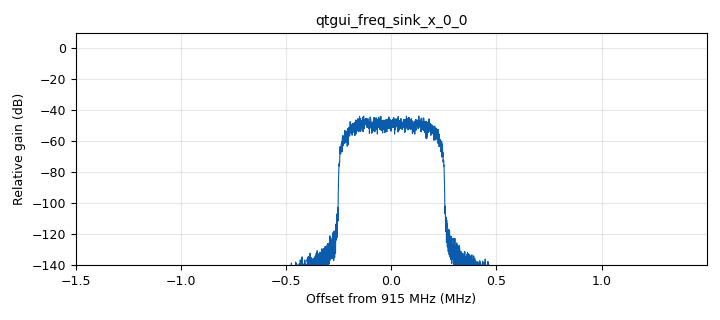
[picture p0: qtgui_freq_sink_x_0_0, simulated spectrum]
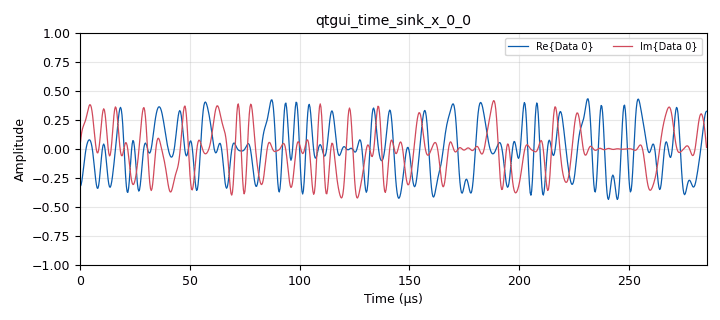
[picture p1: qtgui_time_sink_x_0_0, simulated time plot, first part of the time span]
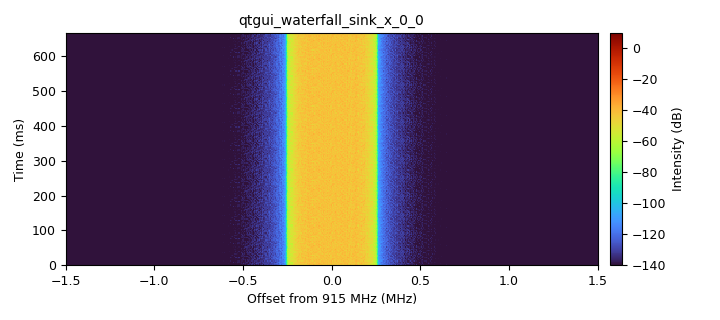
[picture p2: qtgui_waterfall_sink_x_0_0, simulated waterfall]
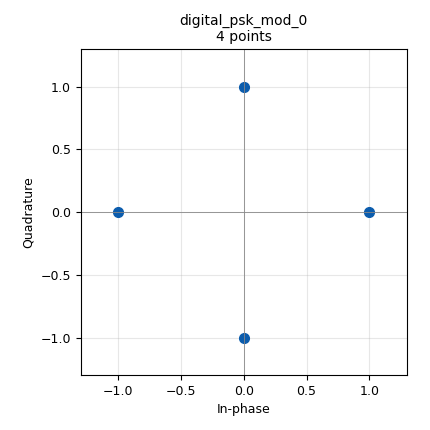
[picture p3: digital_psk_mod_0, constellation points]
<?xml version='1.0' encoding='utf-8'?>
<?grc format='1' created='3.7.9'?>
<flow_graph>
<block>
<key>options</key>
<param><key>id</key><value>bladeRF_loopback</value></param>
<param><key>author</key><value>Nuand, LLC &lt;bladeRF@nuand.com&gt;</value></param>
<param><key>category</key><value>Custom</value></param>
<param><key>description</key><value>A simple flowgraph that demonstrates the usage of loopback modes.</value></param>
<param><key>generate_options</key><value>qt_gui</value></param>
<param><key>title</key><value>"bladeRF loopback example"</value></param>
</block>
<block>
<key>variable</key>
<param><key>id</key><value>bladerf_rx_args</value></param>
<param><key>value</key><value>"bladerf=" + bladerf_selection + ",loopback=" + loopback + ",buffers=" + str(rx_num_buffers) + ",buflen=" + str(rx_buflen) + ",num_xfers=" + str(rx_num_xfers) + ",verbosity="+verbosity</value></param>
</block>
<block>
<key>variable</key>
<param><key>id</key><value>bladerf_selection</value></param>
<param><key>value</key><value>str(instance) if serial == "" else serial</value></param>
</block>
<block>
<key>variable</key>
<param><key>id</key><value>bladerf_tx_args</value></param>
<param><key>value</key><value>"bladerf=" + bladerf_selection + ",buffers=" + str(tx_num_buffers) + ",buflen=" + str(tx_buflen) + ",num_xfers=" + str(tx_num_xfers) + ",verbosity="+verbosity</value></param>
</block>
<block>
<key>variable_qtgui_label</key>
<param><key>id</key><value>gui_bladerf_rx_args</value></param>
<param><key>value</key><value>bladerf_rx_args</value></param>
<param><key>gui_hint</key><value>tabs@0 : 11, 0, 1, 10</value></param>
<param><key>label</key><value>"bladeRF RX arguments"</value></param>
<param><key>type</key><value>string</value></param>
</block>
<block>
<key>variable_qtgui_label</key>
<param><key>id</key><value>gui_bladerf_tx_args</value></param>
<param><key>value</key><value>bladerf_tx_args</value></param>
<param><key>gui_hint</key><value>tabs@1: 11, 0, 1, 10</value></param>
<param><key>label</key><value>"bladeRF TX arguments"</value></param>
<param><key>type</key><value>string</value></param>
</block>
<block>
<key>variable_qtgui_range</key>
<param><key>id</key><value>gui_rx_bandwidth</value></param>
<param><key>value</key><value>rx_bandwidth</value></param>
<param><key>gui_hint</key><value>tabs@0 : 1, 2, 1, 2</value></param>
<param><key>label</key><value>Bandwidth</value></param>
<param><key>orient</key><value>Qt.Horizontal</value></param>
<param><key>start</key><value>1.5e6</value></param>
<param><key>step</key><value>0.5e6</value></param>
<param><key>stop</key><value>28e6</value></param>
</block>
<block>
<key>variable_qtgui_range</key>
<param><key>id</key><value>gui_rx_frequency</value></param>
<param><key>value</key><value>rx_frequency</value></param>
<param><key>gui_hint</key><value>tabs@0 : 0, 0, 1, 5</value></param>
<param><key>label</key><value>Frequency</value></param>
<param><key>orient</key><value>Qt.Horizontal</value></param>
<param><key>start</key><value>0</value></param>
<param><key>step</key><value>1e6</value></param>
<param><key>stop</key><value>3.8e9</value></param>
</block>
<block>
<key>variable_qtgui_chooser</key>
<param><key>id</key><value>gui_rx_lna_gain</value></param>
<param><key>value</key><value>rx_lna_gain</value></param>
<param><key>gui_hint</key><value>tabs@0 : 0, 9, 1, 1</value></param>
<param><key>label0</key><value>0 dB</value></param>
<param><key>label1</key><value>3 dB</value></param>
<param><key>label2</key><value>6 dB</value></param>
<param><key>label</key><value>LNA Gain</value></param>
<param><key>num_opts</key><value>3</value></param>
<param><key>option0</key><value>0</value></param>
<param><key>option1</key><value>3</value></param>
<param><key>option2</key><value>6</value></param>
<param><key>type</key><value>int</value></param>
</block>
<block>
<key>variable_qtgui_range</key>
<param><key>id</key><value>gui_rx_sample_rate</value></param>
<param><key>value</key><value>rx_sample_rate</value></param>
<param><key>gui_hint</key><value>tabs@0 : 1, 0, 1, 2</value></param>
<param><key>label</key><value>Sample Rate</value></param>
<param><key>orient</key><value>Qt.Horizontal</value></param>
<param><key>start</key><value>1.5e6</value></param>
<param><key>step</key><value>500e3</value></param>
<param><key>stop</key><value>40e6</value></param>
</block>
<block>
<key>variable_qtgui_range</key>
<param><key>id</key><value>gui_rx_vga_gain</value></param>
<param><key>value</key><value>rx_vga_gain</value></param>
<param><key>gui_hint</key><value>tabs@0 : 0, 5, 1, 4</value></param>
<param><key>label</key><value>RX VGA1 + VGA2 Gain</value></param>
<param><key>orient</key><value>Qt.Horizontal</value></param>
<param><key>start</key><value>5</value></param>
<param><key>step</key><value>1</value></param>
<param><key>stop</key><value>60</value></param>
</block>
<block>
<key>variable_qtgui_range</key>
<param><key>id</key><value>gui_tx_bandwidth</value></param>
<param><key>value</key><value>tx_bandwidth</value></param>
<param><key>gui_hint</key><value>tabs@1 : 1, 2, 1, 2</value></param>
<param><key>label</key><value>Bandwidth</value></param>
<param><key>orient</key><value>Qt.Horizontal</value></param>
<param><key>start</key><value>1.5e6</value></param>
<param><key>step</key><value>0.5e6</value></param>
<param><key>stop</key><value>28e6</value></param>
</block>
<block>
<key>variable_qtgui_range</key>
<param><key>id</key><value>gui_tx_frequency</value></param>
<param><key>value</key><value>tx_frequency</value></param>
<param><key>gui_hint</key><value>tabs@1 : 0, 0, 1, 5</value></param>
<param><key>label</key><value>Frequency</value></param>
<param><key>orient</key><value>Qt.Horizontal</value></param>
<param><key>start</key><value>0</value></param>
<param><key>step</key><value>1e6</value></param>
<param><key>stop</key><value>3.8e9</value></param>
</block>
<block>
<key>variable_qtgui_range</key>
<param><key>id</key><value>gui_tx_sample_rate</value></param>
<param><key>value</key><value>tx_sample_rate</value></param>
<param><key>gui_hint</key><value>tabs@1 : 1, 0, 1, 2</value></param>
<param><key>label</key><value>Sample Rate</value></param>
<param><key>orient</key><value>Qt.Horizontal</value></param>
<param><key>start</key><value>1.5e6</value></param>
<param><key>step</key><value>500e3</value></param>
<param><key>stop</key><value>40e6</value></param>
</block>
<block>
<key>variable_qtgui_range</key>
<param><key>id</key><value>gui_tx_vga1</value></param>
<param><key>value</key><value>tx_vga1</value></param>
<param><key>gui_hint</key><value>tabs@1 : 0, 5, 1, 2</value></param>
<param><key>label</key><value>VGA1 Gain</value></param>
<param><key>orient</key><value>Qt.Horizontal</value></param>
<param><key>start</key><value>-35</value></param>
<param><key>step</key><value>1</value></param>
<param><key>stop</key><value>-4</value></param>
</block>
<block>
<key>variable_qtgui_range</key>
<param><key>id</key><value>gui_tx_vga2</value></param>
<param><key>value</key><value>tx_vga2</value></param>
<param><key>gui_hint</key><value>tabs@1 : 0, 7, 1, 2</value></param>
<param><key>label</key><value>VGA2 Gain</value></param>
<param><key>orient</key><value>Qt.Horizontal</value></param>
<param><key>start</key><value>0</value></param>
<param><key>step</key><value>1</value></param>
<param><key>stop</key><value>25</value></param>
</block>
<block>
<key>analog_random_source_x</key>
<param><key>id</key><value>analog_random_source_x_0</value></param>
<param><key>max</key><value>255</value></param>
<param><key>min</key><value>0</value></param>
<param><key>num_samps</key><value>1000</value></param>
<param><key>type</key><value>byte</value></param>
<param><key>repeat</key><value>True</value></param>
</block>
<block>
<key>blocks_multiply_const_vxx</key>
<param><key>id</key><value>blocks_multiply_const_vxx_0</value></param>
<param><key>const</key><value>0.3</value></param>
<param><key>type</key><value>complex</value></param>
</block>
<block>
<key>digital_psk_mod</key>
<param><key>id</key><value>digital_psk_mod_0</value></param>
<param><key>differential</key><value>True</value></param>
<param><key>excess_bw</key><value>0.35</value></param>
<param><key>mod_code</key><value>"none"</value></param>
<param><key>constellation_points</key><value>4</value></param>
<param><key>samples_per_symbol</key><value>8</value></param>
</block>
<block>
<key>parameter</key>
<param><key>id</key><value>instance</value></param>
<param><key>label</key><value>0-indexed device instance describing device to use. Ignored if a serial-number is provided.</value></param>
<param><key>type</key><value>intx</value></param>
<param><key>value</key><value>0</value></param>
</block>
<block>
<key>parameter</key>
<param><key>id</key><value>loopback</value></param>
<param><key>label</key><value>Loopback mode</value></param>
<param><key>short_id</key><value>l</value></param>
<param><key>type</key><value>string</value></param>
<param><key>value</key><value>"bb_txvga1_rxlpf"</value></param>
</block>
<block>
<key>note</key>
<param><key>id</key><value>note_0</value></param>
<param><key>note</key><value>Command line params</value></param>
</block>
<block>
<key>note</key>
<param><key>id</key><value>note_0_0</value></param>
<param><key>note</key><value>GUI Controls</value></param>
</block>
<block>
<key>osmosdr_sink</key>
<param><key>id</key><value>osmosdr_sink_0</value></param>
<param><key>bb_gain0</key><value>gui_tx_vga1</value></param>
<param><key>bw0</key><value>gui_tx_bandwidth</value></param>
<param><key>freq0</key><value>gui_tx_frequency</value></param>
<param><key>if_gain0</key><value>0</value></param>
<param><key>gain0</key><value>gui_tx_vga2</value></param>
<param><key>args</key><value>bladerf_tx_args</value></param>
<param><key>type</key><value>fc32</value></param>
<param><key>sample_rate</key><value>gui_tx_sample_rate</value></param>
<param><key>sync</key><value></value></param>
</block>
<block>
<key>osmosdr_source</key>
<param><key>id</key><value>osmosdr_source_0</value></param>
<param><key>bb_gain0</key><value>gui_rx_vga_gain</value></param>
<param><key>bw0</key><value>gui_rx_bandwidth</value></param>
<param><key>dc_offset_mode0</key><value>1</value></param>
<param><key>freq0</key><value>gui_rx_frequency</value></param>
<param><key>gain_mode0</key><value>False</value></param>
<param><key>if_gain0</key><value>0</value></param>
<param><key>iq_balance_mode0</key><value>1</value></param>
<param><key>gain0</key><value>gui_rx_lna_gain</value></param>
<param><key>args</key><value>bladerf_rx_args</value></param>
<param><key>type</key><value>fc32</value></param>
<param><key>sample_rate</key><value>gui_rx_sample_rate</value></param>
<param><key>sync</key><value></value></param>
</block>
<block>
<key>qtgui_freq_sink_x</key>
<param><key>id</key><value>qtgui_freq_sink_x_0</value></param>
<param><key>average</key><value>0.1</value></param>
<param><key>bw</key><value>gui_rx_sample_rate</value></param>
<param><key>fc</key><value>gui_rx_frequency</value></param>
<param><key>fftsize</key><value>8192</value></param>
<param><key>gui_hint</key><value>tabs@0 : 2, 0, 5, 5</value></param>
<param><key>showports</key><value>True</value></param>
<param><key>type</key><value>complex</value></param>
<param><key>wintype</key><value>firdes.WIN_BLACKMAN_hARRIS</value></param>
</block>
<block>
<key>qtgui_freq_sink_x</key>
<param><key>id</key><value>qtgui_freq_sink_x_0_0</value></param>
<param><key>average</key><value>0.1</value></param>
<param><key>bw</key><value>gui_tx_sample_rate</value></param>
<param><key>fc</key><value>gui_tx_frequency</value></param>
<param><key>fftsize</key><value>8192</value></param>
<param><key>gui_hint</key><value>tabs@1 : 2, 0, 5, 5</value></param>
<param><key>showports</key><value>True</value></param>
<param><key>type</key><value>complex</value></param>
<param><key>wintype</key><value>firdes.WIN_BLACKMAN_hARRIS</value></param>
</block>
<block>
<key>qtgui_time_sink_x</key>
<param><key>id</key><value>qtgui_time_sink_x_0</value></param>
<param><key>gui_hint</key><value>tabs@0 : 7, 0, 3, 10</value></param>
<param><key>color1</key><value>"blue"</value></param>
<param><key>label1</key><value></value></param>
<param><key>color2</key><value>"red"</value></param>
<param><key>label2</key><value></value></param>
<param><key>size</key><value>8192</value></param>
<param><key>srate</key><value>rx_sample_rate</value></param>
<param><key>type</key><value>complex</value></param>
</block>
<block>
<key>qtgui_time_sink_x</key>
<param><key>id</key><value>qtgui_time_sink_x_0_0</value></param>
<param><key>gui_hint</key><value>tabs@1 : 7, 0, 3, 10</value></param>
<param><key>color1</key><value>"blue"</value></param>
<param><key>label1</key><value></value></param>
<param><key>color2</key><value>"red"</value></param>
<param><key>label2</key><value></value></param>
<param><key>size</key><value>8192</value></param>
<param><key>srate</key><value>tx_sample_rate</value></param>
<param><key>type</key><value>complex</value></param>
</block>
<block>
<key>qtgui_waterfall_sink_x</key>
<param><key>id</key><value>qtgui_waterfall_sink_x_0</value></param>
<param><key>bw</key><value>gui_rx_sample_rate</value></param>
<param><key>fc</key><value>gui_rx_frequency</value></param>
<param><key>fftsize</key><value>8192</value></param>
<param><key>gui_hint</key><value>tabs@0 : 2, 5, 5, 5</value></param>
<param><key>showports</key><value>True</value></param>
<param><key>type</key><value>complex</value></param>
<param><key>wintype</key><value>firdes.WIN_BLACKMAN_hARRIS</value></param>
</block>
<block>
<key>qtgui_waterfall_sink_x</key>
<param><key>id</key><value>qtgui_waterfall_sink_x_0_0</value></param>
<param><key>bw</key><value>gui_tx_sample_rate</value></param>
<param><key>fc</key><value>gui_tx_frequency</value></param>
<param><key>fftsize</key><value>8192</value></param>
<param><key>gui_hint</key><value>tabs@1 : 2, 5, 5, 5</value></param>
<param><key>showports</key><value>True</value></param>
<param><key>type</key><value>complex</value></param>
<param><key>wintype</key><value>firdes.WIN_BLACKMAN_hARRIS</value></param>
</block>
<block>
<key>parameter</key>
<param><key>id</key><value>rx_bandwidth</value></param>
<param><key>label</key><value>Bandwidth</value></param>
<param><key>type</key><value>eng_float</value></param>
<param><key>value</key><value>1.5e6</value></param>
</block>
<block>
<key>parameter</key>
<param><key>id</key><value>rx_buflen</value></param>
<param><key>label</key><value>Length of RX buffers, in samples. Should be a multiple of 1024.</value></param>
<param><key>value</key><value>4096</value></param>
</block>
<block>
<key>parameter</key>
<param><key>id</key><value>rx_frequency</value></param>
<param><key>label</key><value>Frequency</value></param>
<param><key>type</key><value>eng_float</value></param>
<param><key>value</key><value>915e6</value></param>
</block>
<block>
<key>parameter</key>
<param><key>id</key><value>rx_lna_gain</value></param>
<param><key>label</key><value>RX LNA Gain</value></param>
<param><key>type</key><value>intx</value></param>
<param><key>value</key><value>6</value></param>
</block>
<block>
<key>parameter</key>
<param><key>id</key><value>rx_num_buffers</value></param>
<param><key>label</key><value>Number of RX buffers to use</value></param>
<param><key>type</key><value>intx</value></param>
<param><key>value</key><value>16</value></param>
</block>
<block>
<key>parameter</key>
<param><key>id</key><value>rx_num_xfers</value></param>
<param><key>label</key><value>Number of maximum in-flight RX USB transfers. Should be &lt;= (num-buffers / 2).</value></param>
<param><key>type</key><value>intx</value></param>
<param><key>value</key><value>8</value></param>
</block>
<block>
<key>parameter</key>
<param><key>id</key><value>rx_sample_rate</value></param>
<param><key>label</key><value>Sample Rate</value></param>
<param><key>type</key><value>eng_float</value></param>
<param><key>value</key><value>3e6</value></param>
</block>
<block>
<key>parameter</key>
<param><key>id</key><value>rx_vga_gain</value></param>
<param><key>label</key><value>RX VGA1 + VGA2 Gain</value></param>
<param><key>type</key><value>intx</value></param>
<param><key>value</key><value>20</value></param>
</block>
<block>
<key>parameter</key>
<param><key>id</key><value>serial</value></param>
<param><key>label</key><value>bladeRF serial number</value></param>
<param><key>type</key><value>string</value></param>
<param><key>value</key><value>""</value></param>
</block>
<block>
<key>qtgui_tab_widget</key>
<param><key>id</key><value>tabs</value></param>
<param><key>label0</key><value>RX</value></param>
<param><key>label1</key><value>TX</value></param>
<param><key>num_tabs</key><value>2</value></param>
</block>
<block>
<key>parameter</key>
<param><key>id</key><value>tx_bandwidth</value></param>
<param><key>label</key><value>Bandwidth</value></param>
<param><key>type</key><value>eng_float</value></param>
<param><key>value</key><value>1.5e6</value></param>
</block>
<block>
<key>parameter</key>
<param><key>id</key><value>tx_buflen</value></param>
<param><key>label</key><value>Length of TX buffers, in samples. Should be a multiple of 1024.</value></param>
<param><key>value</key><value>4096</value></param>
</block>
<block>
<key>parameter</key>
<param><key>id</key><value>tx_frequency</value></param>
<param><key>label</key><value>Frequency</value></param>
<param><key>type</key><value>eng_float</value></param>
<param><key>value</key><value>915e6</value></param>
</block>
<block>
<key>parameter</key>
<param><key>id</key><value>tx_num_buffers</value></param>
<param><key>label</key><value>Number of TX buffers to use</value></param>
<param><key>type</key><value>intx</value></param>
<param><key>value</key><value>16</value></param>
</block>
<block>
<key>parameter</key>
<param><key>id</key><value>tx_num_xfers</value></param>
<param><key>label</key><value>Number of maximum in-flight TX USB transfers. Should be &lt;= (num-buffers / 2).</value></param>
<param><key>type</key><value>intx</value></param>
<param><key>value</key><value>8</value></param>
</block>
<block>
<key>parameter</key>
<param><key>id</key><value>tx_sample_rate</value></param>
<param><key>label</key><value>Sample Rate</value></param>
<param><key>type</key><value>eng_float</value></param>
<param><key>value</key><value>3e6</value></param>
</block>
<block>
<key>parameter</key>
<param><key>id</key><value>tx_vga1</value></param>
<param><key>label</key><value>TX VGA1 Gain</value></param>
<param><key>type</key><value>intx</value></param>
<param><key>value</key><value>-18</value></param>
</block>
<block>
<key>parameter</key>
<param><key>id</key><value>tx_vga2</value></param>
<param><key>label</key><value>TX VGA2 Gain</value></param>
<param><key>type</key><value>intx</value></param>
<param><key>value</key><value>0</value></param>
</block>
<block>
<key>parameter</key>
<param><key>id</key><value>verbosity</value></param>
<param><key>label</key><value>libbladeRF log verbosity. Options are: verbose, debug, info, warning, error, critical, silent</value></param>
<param><key>type</key><value>string</value></param>
<param><key>value</key><value>"info"</value></param>
</block>
<connection><source_block_id>analog_random_source_x_0</source_block_id><sink_block_id>digital_psk_mod_0</sink_block_id><source_key>0</source_key><sink_key>0</sink_key></connection>
<connection><source_block_id>blocks_multiply_const_vxx_0</source_block_id><sink_block_id>osmosdr_sink_0</sink_block_id><source_key>0</source_key><sink_key>0</sink_key></connection>
<connection><source_block_id>blocks_multiply_const_vxx_0</source_block_id><sink_block_id>qtgui_freq_sink_x_0_0</sink_block_id><source_key>0</source_key><sink_key>0</sink_key></connection>
<connection><source_block_id>blocks_multiply_const_vxx_0</source_block_id><sink_block_id>qtgui_time_sink_x_0_0</sink_block_id><source_key>0</source_key><sink_key>0</sink_key></connection>
<connection><source_block_id>blocks_multiply_const_vxx_0</source_block_id><sink_block_id>qtgui_waterfall_sink_x_0_0</sink_block_id><source_key>0</source_key><sink_key>0</sink_key></connection>
<connection><source_block_id>digital_psk_mod_0</source_block_id><sink_block_id>blocks_multiply_const_vxx_0</sink_block_id><source_key>0</source_key><sink_key>0</sink_key></connection>
<connection><source_block_id>osmosdr_source_0</source_block_id><sink_block_id>qtgui_freq_sink_x_0</sink_block_id><source_key>0</source_key><sink_key>0</sink_key></connection>
<connection><source_block_id>osmosdr_source_0</source_block_id><sink_block_id>qtgui_time_sink_x_0</sink_block_id><source_key>0</source_key><sink_key>0</sink_key></connection>
<connection><source_block_id>osmosdr_source_0</source_block_id><sink_block_id>qtgui_waterfall_sink_x_0</sink_block_id><source_key>0</source_key><sink_key>0</sink_key></connection>
</flow_graph>
